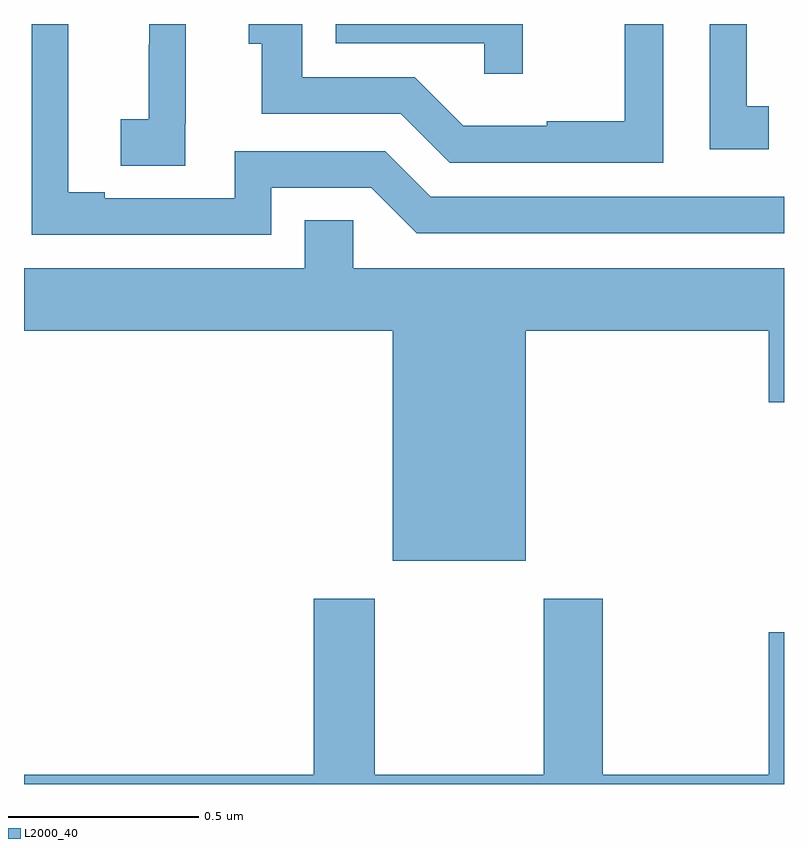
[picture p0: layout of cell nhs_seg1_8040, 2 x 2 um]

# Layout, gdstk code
import gdstk
lib = gdstk.Library(unit=1e-6, precision=1e-09)
def P(c, l, *ps):  # polygons
    for p in ps: c.add(gdstk.Polygon(p, *l))
L2000_40 = (2000, 40)

nhs_seg1_8040 = lib.new_cell('nhs_seg1_8040')
P(nhs_seg1_8040, L2000_40, [(212.96,558.983),(212.902,558.983),(212.902,559.199),(212.805,559.199),(212.805,558.87),(212.96,558.87)],
  [(211.65,558.768),(211.914,558.768),(212.034,558.648),(213,558.648),(213,558.744),(212.07,558.744),(211.95,558.864),(211.554,558.864),(211.554,558.741),(211.213,558.741),(211.213,558.756),(211.117,558.756),(211.117,559.199),(211.02,559.199),(211.02,558.645),(211.65,558.645)],
  [(212.682,559.199),(212.581,559.199),(212.581,558.943),(212.375,558.943),(212.375,558.931),(212.156,558.931),(212.028,559.059),(211.732,559.059),(211.732,559.199),(211.592,559.199),(211.592,559.147),(211.625,559.147),(211.625,558.963),(211.992,558.963),(212.121,558.834),(212.682,558.834)],
  [(211.424,558.937),(211.426,558.937),(211.426,559.199),(211.329,559.199),(211.329,559.145),(211.328,559.145),(211.328,558.948),(211.254,558.948),(211.254,558.826),(211.424,558.826)],
  [(212.312,559.199),(211.821,559.199),(211.821,559.149),(212.211,559.149),(212.211,559.068),(212.312,559.068)],
  [(212.32,558.392),(212.96,558.392),(212.96,558.204),(213,558.204),(213,558.556),(211.866,558.556),(211.866,558.683),(211.739,558.683),(211.739,558.556),(211,558.556),(211,558.392),(211.97,558.392),(211.97,557.786),(212.32,557.786)],
  [(213,557.599),(212.96,557.599),(212.96,557.224),(212.523,557.224),(212.523,557.686),(212.368,557.686),(212.368,557.224),(211.923,557.224),(211.923,557.686),(211.763,557.686),(211.763,557.224),(211,557.224),(211,557.199),(213,557.199)])

lib.write_gds('nhs_seg1_8040.gds')
